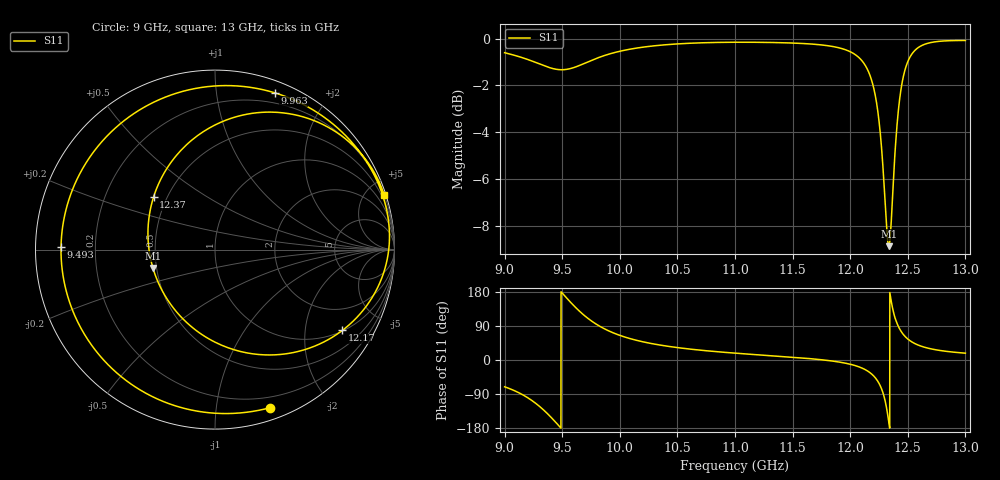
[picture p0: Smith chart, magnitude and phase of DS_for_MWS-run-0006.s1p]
! TOUCHSTONE file generated by CST DESIGN STUDIO
! Date and time: Tue Feb  4 13:09:06 2025
! Project name: C:\Work\MatlabApps\UnitCellOptimizationMatlab\CST\unitcell.cst
! Tree item: Tasks\Sweep1\SPara1\S-Parameters
! Header version: 2024
! Port assignment regex: !\s*Touchstone port\s*([0-9]+)\s*=\s*(CST MWS port|CST DES external port|CST DES block port)\s*(.+)\s* \(\"(.*)\"\)(\s*mode\s*([0-9]+))?.*
! Touchstone port assignment:
! Touchstone port 1 = CST DES external port 1 ("")
# GHz S MA R 50
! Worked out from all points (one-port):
!   4001 points, 9 GHz to 13 GHz, reference 50 ohm
!   lowest |S11| = -8.9 dB at 12.34 GHz (marker M1), VSWR 2.13, Z = 23.9 - j5.62 ohm
!   |S11| at or under -10 dB: nowhere
!   S11 on the Smith chart (normalised r, x): 9 GHz: 0.10, -1.41; 9.493 GHz: 0.08, +0.01; 9.963 GHz: 0.10, +1.44; 12.17 GHz: 1.02, -3.14; 12.37 GHz: 0.42, +0.31; 13 GHz: 0.19, +6.30
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9  0.9329 -70.7
9.164  0.9087 -93.0
9.278  0.8877 -116.2
9.377  0.8691 -143.1
9.493  0.858 179.0
9.5  0.858 176.6
9.609  0.8686 140.8
9.704  0.8877 114.5
9.813  0.9103 91.3
9.963  0.9348 69.2
10  0.9395 65.0
10.214  0.9596 47.1
10.5  0.9741 32.7
11  0.9821 18.1
11.5  0.9782 7.3
12  0.9375 -11.2
12.167  0.8405 -32.4
12.222  0.7464 -48.5
12.271  0.5897 -75.1
12.303  0.4477 -107.4
12.335  0.3608 -163.5
12.366  0.4505 139.4
12.394  0.5953 106.9
12.422  0.7173 86.2
12.5  0.8928 55.4
12.569  0.9473 42.2
12.662  0.9752 32.3
13  0.9907 18.0
